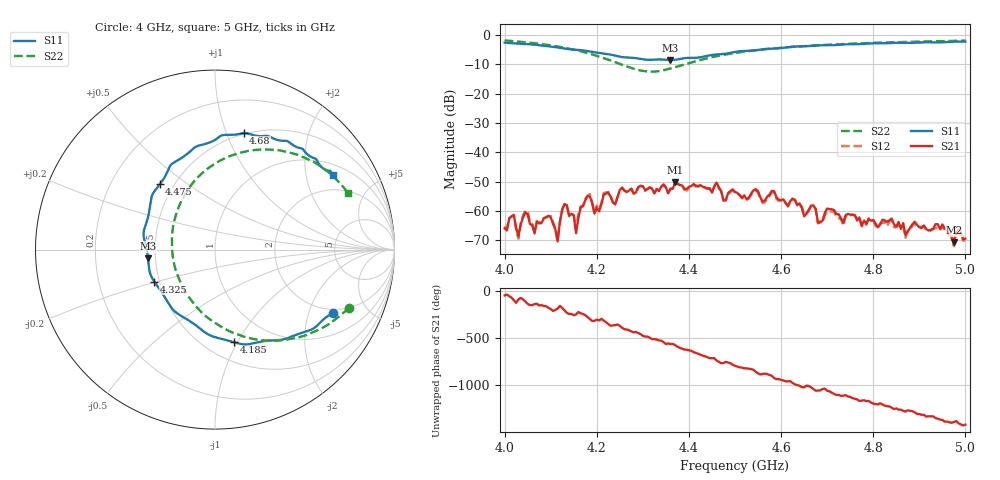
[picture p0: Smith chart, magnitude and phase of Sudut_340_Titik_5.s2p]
# Hz S RI R 50
! CMT, C1220, 16058040, 17.2.0/1
! Date: 15/08/2018 12:24:14
! Data: Format (Calibration Info)
! Freq  S11: Re/Im (F2)  S21: Re/Im (F2)  S12: Re/Im (F2)  S22: Re/Im (F2)
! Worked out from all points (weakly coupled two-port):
!   201 points, 4 GHz to 5 GHz, reference 50 ohm
!   highest |S21| = -50.14 dB at 4.37 GHz (marker M1); lowest = -70.7 dB at 4.975 GHz (marker M2)
!   lowest |S11| = -8.5 dB at 4.36 GHz (marker M3), VSWR 2.21, Z = 22.7 - j2.62 ohm
!   |S11| at or under -10 dB: nowhere
!   |S22| runs from -12.5 to -1.8 dB; largest |S21 - S12| = 0.00018
!   S11 on the Smith chart (normalised r, x): 4 GHz: 1.85, -2.90; 4.185 GHz: 0.68, -0.97; 4.325 GHz: 0.47, -0.20; 4.475 GHz: 0.42, +0.39; 4.68 GHz: 0.49, +1.15; 5 GHz: 1.37, +2.85
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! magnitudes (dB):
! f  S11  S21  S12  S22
! 4 GHz  -2.6  -65.8  -65.4  -1.8
! 4.03 GHz  -2.9  -68.6  -69.4  -2.2
! 4.095 GHz  -3.8  -61.6  -61.8  -3.4
! 4.115 GHz  -4.2  -70.4  -70.2  -3.9
! 4.13 GHz  -4.6  -57.6  -57.7  -4.3
! 4.155 GHz  -5.0  -67.5  -66.4  -5.1
! 4.17 GHz  -5.2  -58.4  -58.3  -5.7
! 4.185 GHz  -5.6  -55.0  -54.2  -6.4
! 4.195 GHz  -5.8  -60.9  -60.2  -6.8
! 4.255 GHz  -7.5  -52.1  -52.0  -10.1
! 4.325 GHz  -8.4  -54.0  -53.8  -12.4
! 4.335 GHz  -8.3  -53.2  -53.0  -12.3
! 4.36 GHz  -8.5  -52.4  -52.3  -11.4
! 4.37 GHz  -8.4  -50.1  -50.5  -10.9
! 4.475 GHz  -6.4  -56.4  -56.5  -6.7
! 4.5 GHz  -5.7  -53.5  -53.8  -6.1
! 4.67 GHz  -3.6  -58.1  -58.3  -3.6
! 4.68 GHz  -3.5  -63.9  -64.2  -3.5
! 4.835 GHz  -2.7  -63.2  -63.5  -2.5
! 4.95 GHz  -2.5  -64.6  -65.2  -2.0
! 4.975 GHz  -2.2  -70.7  -72.0  -2.0
! 5 GHz  -2.2  -69.4  -70.1  -1.9
